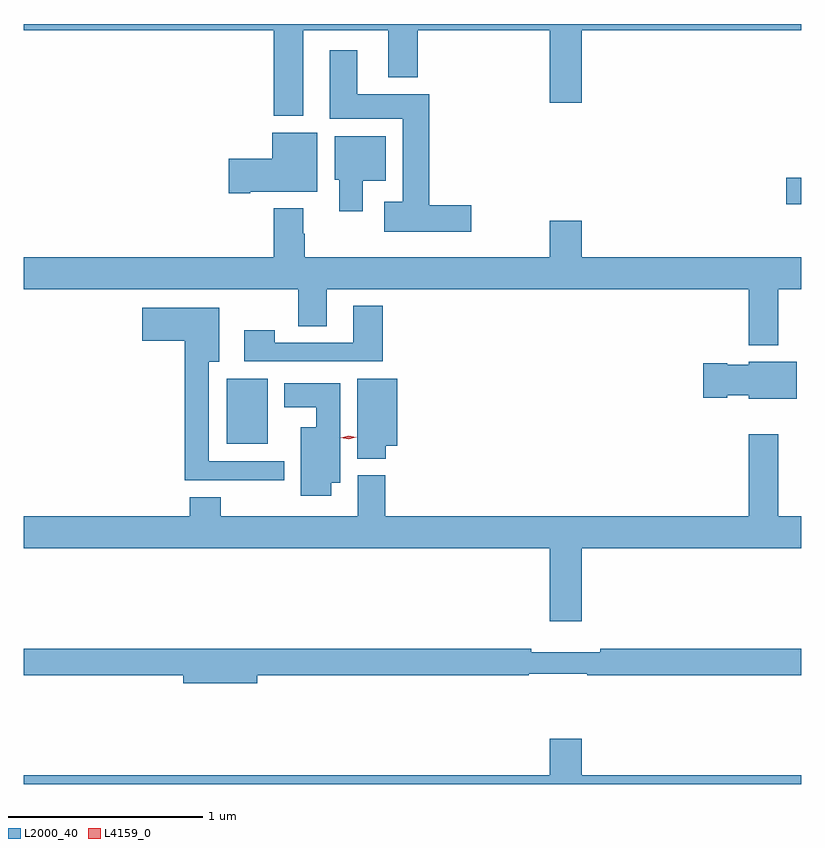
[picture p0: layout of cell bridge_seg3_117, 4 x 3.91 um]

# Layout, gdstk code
import gdstk
lib = gdstk.Library(unit=1e-6, precision=1e-09)
def R(c, l, rs):  # rectangles x0, y0, x1, y1
    for r in rs: c.add(gdstk.rectangle(r[:2], r[2:], *l))
def P(c, l, *ps):  # polygons
    for p in ps: c.add(gdstk.Polygon(p, *l))
L2000_40 = (2000, 40)
L4159_0 = (4159, 0)

bridge_seg3_117 = lib.new_cell('bridge_seg3_117')
R(bridge_seg3_117, L2000_40, [(343.166,746.741,343.378,747.076), (346.044,747.974,346.122,748.109)])
P(bridge_seg3_117, L2000_40, [(343.561,748.868),(343.997,748.868),(343.997,748.625),(344.15,748.625),(344.15,748.868),(344.828,748.868),(344.828,748.494),(344.992,748.494),(344.992,748.868),(346.122,748.868),(346.122,748.9),(342.122,748.9),(342.122,748.868),(343.409,748.868),(343.409,748.427),(343.561,748.427)],
  [(344.425,747.968),(344.207,747.968),(344.207,748.54),(343.837,748.54),(343.837,748.765),(343.697,748.765),(343.697,748.412),(344.072,748.412),(344.072,747.985),(343.977,747.985),(343.977,747.833),(344.425,747.833)],
  [(343.288,748.037),(343.633,748.037),(343.633,748.342),(343.4,748.342),(343.4,748.208),(343.176,748.208),(343.176,748.03),(343.288,748.03)],
  [(343.867,748.094),(343.984,748.094),(343.984,748.324),(343.721,748.324),(343.721,748.098),(343.745,748.098),(343.745,747.936),(343.867,747.936)],
  [(346.003,747.536),(346.122,747.536),(346.122,747.7),(344.992,747.7),(344.992,747.889),(344.828,747.889),(344.828,747.7),(343.569,747.7),(343.569,747.821),(343.561,747.821),(343.561,747.952),(343.409,747.952),(343.409,747.7),(342.122,747.7),(342.122,747.536),(343.534,747.536),(343.534,747.346),(343.681,747.346),(343.681,747.536),(345.851,747.536),(345.851,747.248),(346.003,747.248)],
  [(343.97,747.451),(343.817,747.451),(343.817,747.261),(343.413,747.261),(343.413,747.325),(343.257,747.325),(343.257,747.165),(343.97,747.165)],
  [(343.462,746.652),(343.075,746.652),(343.075,747.164),(343.129,747.164),(343.129,747.442),(342.732,747.442),(342.732,747.272),(342.95,747.272),(342.95,746.555),(343.462,746.555)],
  [(346.099,747.163),(345.852,747.163),(345.852,747.148),(345.741,747.148),(345.741,747.156),(345.618,747.156),(345.618,746.978),(345.741,746.978),(345.741,746.99),(345.852,746.99),(345.852,746.972),(346.099,746.972)],
  [(343.985,746.732),(344.044,746.732),(344.044,747.076),(343.838,747.076),(343.838,746.665),(343.985,746.665)],
  [(343.705,746.54),(343.75,746.54),(343.75,747.052),(343.463,747.052),(343.463,746.93),(343.628,746.93),(343.628,746.827),(343.547,746.827),(343.547,746.475),(343.705,746.475)],
  [(344.992,746.204),(346.122,746.204),(346.122,746.368),(346.003,746.368),(346.003,746.791),(345.851,746.791),(345.851,746.368),(343.982,746.368),(343.982,746.58),(343.841,746.58),(343.841,746.368),(343.137,746.368),(343.137,746.467),(342.977,746.467),(342.977,746.368),(342.122,746.368),(342.122,746.204),(344.828,746.204),(344.828,745.83),(344.992,745.83)],
  [(343.324,745.552),(344.72,745.552),(344.72,745.56),(345.02,745.56),(345.02,745.552),(346.122,745.552),(346.122,745.688),(345.088,745.688),(345.088,745.669),(344.732,745.669),(344.732,745.688),(342.122,745.688),(342.122,745.552),(342.944,745.552),(342.944,745.51),(343.324,745.51)],
  [(346.122,745.036),(344.992,745.036),(344.992,745.225),(344.828,745.225),(344.828,745.036),(342.122,745.036),(342.122,744.992),(346.122,744.992)])
P(bridge_seg3_117, L4159_0, [(343.794,746.764),(343.754,746.772),(343.754,746.772),(343.754,746.773),(343.793,746.784),(343.833,746.775),(343.833,746.775),(343.833,746.775)])

lib.write_gds('bridge_seg3_117.gds')
